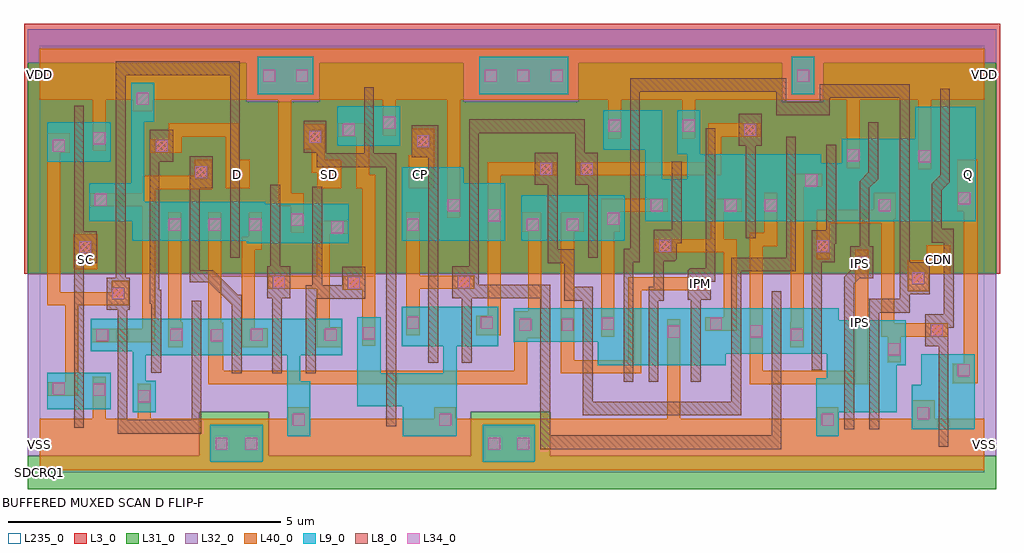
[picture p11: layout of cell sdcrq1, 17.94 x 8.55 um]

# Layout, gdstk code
import gdstk
lib = gdstk.Library(unit=1e-6, precision=1e-09)
def R(c, l, rs):  # rectangles x0, y0, x1, y1
    for r in rs: c.add(gdstk.rectangle(r[:2], r[2:], *l))
def A(c, l, x, y, w, h, nx, ny, dx, dy):  # array of equal rectangles
    R(c, l, [(x+i*dx, y+j*dy, x+i*dx+w, y+j*dy+h) for i in range(nx) for j in range(ny)])
def P(c, l, *ps):  # polygons
    for p in ps: c.add(gdstk.Polygon(p, *l))
L3_0 = (3, 0)
L8_0 = (8, 0)
L9_0 = (9, 0)
L31_0 = (31, 0)
L32_0 = (32, 0)
L34_0 = (34, 0)
L40_0 = (40, 0)
L235_0 = (235, 0)

sdcrq1 = lib.new_cell('sdcrq1')
P(sdcrq1, L3_0, [(17.65,8.245),(17.65,3.65),(6.15,3.65),(6.15,3.595),(3.18,3.595),(3.18,3.65),(-0.29,3.65),(-0.29,8.245)])
P(sdcrq1, L8_0, [(2.97,3.16),(2.79,3.16),(2.79,0.965),(1.61,0.965),(1.61,2.995),(1.65,2.995),(1.65,3.58),(1.58,3.58),(1.58,7.305),(3.5,7.305),(3.5,3.945),(3.68,3.945),(3.68,7.56),(1.4,7.56),(1.4,3.58),(1.23,3.58),(1.23,2.995),(1.43,2.995),(1.43,0.71),(2.97,0.71)],
  [(15.43,2.94),(15.99,2.94),(15.99,3.275),(16.36,3.275),(16.36,3.86),(15.99,3.86),(15.99,7.14),(14.34,7.14),(14.34,6.815),(13.72,6.815),(13.72,7.25),(10.85,7.25),(10.85,4.115),(10.73,4.115),(10.73,1.665),(10.91,1.665),(10.91,3.86),(11.03,3.86),(11.03,7),(13.54,7),(13.54,6.565),(14.52,6.565),(14.52,6.885),(15.81,6.885),(15.81,3.19),(15.25,3.19),(15.25,0.795),(15.43,0.795)],
  [(6.55,5.865),(6.14,5.865),(6.14,7.08),(5.96,7.08),(5.96,5.865),(5.27,5.865),(5.27,6.465),(4.85,6.465),(4.85,5.88),(5.09,5.88),(5.09,5.61),(6.37,5.61),(6.37,0.85),(6.55,0.85)],
  [(16.7,2.66),(16.8,2.66),(16.8,4.48),(16.58,4.48),(16.58,5.185),(16.73,5.335),(16.73,7.055),(16.55,7.055),(16.55,5.46),(16.4,5.31),(16.4,4.225),(16.62,4.225),(16.62,2.91),(16.28,2.91),(16.28,2.32),(16.52,2.32),(16.52,0.475),(16.7,0.475)],
  [(0.81,3.85),(1.05,3.85),(1.05,4.435),(0.81,4.435),(0.81,6.745),(0.63,6.745),(0.63,0.825),(0.81,0.825)],
  [(13.16,6.005),(13.27,6.005),(13.27,6.59),(12.85,6.59),(12.85,6.005),(12.98,6.005),(12.98,4.31),(13.16,4.31)],
  [(13.63,3.33),(13.45,3.33),(13.45,0.685),(9.38,0.685),(9.38,3.455),(8.07,3.455),(8.07,6.24),(9.84,6.24),(9.84,5.29),(10.08,5.29),(10.08,3.945),(10.26,3.945),(10.26,5.88),(10.02,5.88),(10.02,6.495),(7.89,6.495),(7.89,3.79),(7.58,3.79),(7.58,3.205),(7.76,3.205),(7.76,2.015),(7.94,2.015),(7.94,3.205),(9.2,3.205),(9.2,0.43),(13.63,0.43)],
  [(14.97,3.47),(15.07,3.57),(15.32,3.57),(15.32,4.155),(15.25,4.155),(15.25,5.23),(15.41,5.39),(15.41,6.44),(15.23,6.44),(15.23,5.515),(15.07,5.355),(15.07,4.155),(14.9,4.155),(14.9,3.705),(14.79,3.595),(14.79,0.795),(14.97,0.795)],
  [(7.32,6.38),(6.84,6.38),(6.84,5.795),(7.14,5.795),(7.14,2.015),(7.32,2.015)],
  [(12.15,3.175),(12.33,3.175),(12.33,3.51),(12.42,3.51),(12.42,6.325),(12.24,6.325),(12.24,3.755),(11.96,3.755),(11.91,3.705),(11.91,3.175),(11.97,3.175),(11.97,1.665),(12.15,1.665)],
  [(2.23,3.36),(2.2,3.36),(2.2,5.71),(2.45,5.71),(2.45,6.3),(2.02,6.3),(2.02,3.105),(2.05,3.105),(2.05,1.83),(2.23,1.83)],
  [(12.89,3.695),(13.9,3.695),(13.9,6.17),(13.72,6.17),(13.72,3.945),(12.71,3.945),(12.71,1.3),(10.16,1.3),(10.16,3.415),(9.82,3.415),(9.82,4.1),(9.52,4.1),(9.52,5.88),(9.1,5.88),(9.1,5.29),(9.34,5.29),(9.34,3.85),(9.64,3.85),(9.64,3.16),(9.98,3.16),(9.98,1.05),(12.89,1.05)],
  [(14.37,3.86),(14.61,3.86),(14.61,4.2),(14.64,4.2),(14.64,6.02),(14.46,6.02),(14.46,4.45),(14.19,4.45),(14.19,1.875),(14.37,1.875)],
  [(3.71,3.265),(3.64,3.265),(3.19,3.715),(2.94,3.715),(2.94,5.22),(3.18,5.22),(3.18,5.81),(2.76,5.81),(2.76,3.5),(3.11,3.5),(3.52,3.09),(3.53,3.09),(3.53,1.82),(3.71,1.82)],
  [(11.37,3.16),(11.47,3.16),(11.47,3.88),(11.67,3.88),(11.71,3.92),(11.71,4.21),(11.8,4.21),(11.8,5.71),(11.62,5.71),(11.62,4.465),(11.29,4.465),(11.29,3.415),(11.19,3.415),(11.19,1.665),(11.37,1.665)],
  [(4.45,3.205),(4.6,3.205),(4.6,3.79),(4.42,3.79),(4.42,5.29),(4.24,5.29),(4.24,3.79),(4.18,3.79),(4.18,3.205),(4.27,3.205),(4.27,1.82),(4.45,1.82)],
  [(5.07,3.19),(5.98,3.19),(5.98,3.78),(5.56,3.78),(5.56,3.44),(5.19,3.44),(5.19,5.25),(5.01,5.25),(5.01,3.44),(4.89,3.44),(4.89,1.82),(5.07,1.82)])
R(sdcrq1, L9_0, [(3.13,0.195,4.1,0.88), (8.14,0.195,9.1,0.88), (0.14,1.16,1.3,1.83), (8.85,4.255,10.75,5.095), (0.14,5.71,1.3,6.44), (5.47,6.005,6.63,6.73), (4.01,6.955,5.03,7.64), (8.08,6.955,9.71,7.64), (13.82,6.955,14.24,7.64)])
P(sdcrq1, L9_0, [(17.19,2.17),(17.19,0.795),(16.03,0.795),(16.03,1.61),(16.2,1.61),(16.2,2.17)],
  [(5.56,2.825),(5.56,2.155),(4.79,2.155),(4.79,1.68),(4.97,1.68),(4.97,0.67),(4.55,0.67),(4.55,2.155),(1.95,2.155),(1.95,1.69),(2.13,1.69),(2.13,1.105),(1.71,1.105),(1.71,2.225),(0.94,2.225),(0.94,2.825)],
  [(14.69,3.02),(14.69,2.8),(15.92,2.8),(15.92,1.97),(15.75,1.97),(15.75,1.105),(14.69,1.105),(14.69,0.67),(14.27,0.67),(14.27,1.735),(14.47,1.735),(14.47,2.18),(12.61,2.18),(12.61,1.97),(10.26,1.97),(10.26,2.405),(8.71,2.405),(8.71,3.02)],
  [(8.43,3.05),(8.43,2.32),(7.66,2.32),(7.66,0.67),(6.67,0.67),(6.67,1.215),(5.84,1.215),(5.84,2.855),(6.27,2.855),(6.27,1.82),(7.42,1.82),(7.42,2.32),(6.65,2.32),(6.65,3.05)],
  [(7.79,5.61),(7.79,5.32),(8.56,5.32),(8.56,4.255),(6.65,4.255),(6.65,5.61)],
  [(17.2,6.72),(17.2,4.62),(11.13,4.62),(11.13,5.935),(10.36,5.935),(10.36,6.66),(11.44,6.66),(11.44,5.39),(11.9,5.39),(11.9,5.85),(11.72,5.85),(11.72,6.66),(12.14,6.66),(12.14,5.85),(14.36,5.85),(14.36,5.68),(14.74,5.68),(14.74,6.13),(16.09,6.13),(16.09,6.72)],
  [(2.1,7.165),(2.1,6.45),(1.92,6.45),(1.92,4.98),(4.14,4.98),(4.14,4.94),(5.68,4.94),(5.68,4.21),(3.8,4.21),(3.8,4.255),(1.7,4.255),(1.7,4.62),(0.91,4.62),(0.91,5.32),(1.68,5.32),(1.68,7.165)])
P(sdcrq1, L31_0, [(9.38,1.12),(9.38,0.305),(17.58,0.305),(17.58,-0.305),(-0.22,-0.305),(-0.22,0.305),(2.93,0.305),(2.93,1.12),(4.21,1.12),(4.21,0.305),(7.92,0.305),(7.92,1.12)],
  [(17.58,7.53),(17.58,3.65),(-0.22,3.65),(-0.22,7.53),(3.8,7.53),(3.8,6.815),(5.14,6.815),(5.14,7.53),(7.79,7.53),(7.79,6.815),(9.9,6.815),(9.9,7.53),(13.65,7.53),(13.65,6.815),(14.4,6.815),(14.4,7.53)])
P(sdcrq1, L32_0, [(17.58,3.65),(17.58,0.305),(9.38,0.305),(9.38,1.12),(7.92,1.12),(7.92,0.305),(4.21,0.305),(4.21,1.12),(2.93,1.12),(2.93,0.305),(-0.22,0.305),(-0.22,3.65)],
  [(17.58,8.145),(17.58,7.53),(14.4,7.53),(14.4,6.815),(13.65,6.815),(13.65,7.53),(9.9,7.53),(9.9,6.815),(7.79,6.815),(7.79,7.53),(5.14,7.53),(5.14,6.815),(3.8,6.815),(3.8,7.53),(-0.22,7.53),(-0.22,8.145)])
A(sdcrq1, L34_0, 2.37, 4.44, 0.22, 0.22, 3, 1, 0.74, 0)
R(sdcrq1, L34_0, [(3.23,0.42,3.45,0.64), (3.78,0.42,4,0.64), (8.24,0.42,8.46,0.64), (8.78,0.42,9,0.64), (4.65,0.855,4.87,1.075), (7.34,0.855,7.56,1.075), (14.37,0.855,14.59,1.075), (16.13,0.98,16.35,1.2), (1.81,1.29,2.03,1.51), (0.98,1.415,1.2,1.635), (0.24,1.43,0.46,1.65), (16.87,1.765,17.09,1.985), (15.6,2.155,15.82,2.375), (1.04,2.41,1.26,2.63), (3.14,2.41,3.36,2.63), (2.4,2.42,2.62,2.64), (3.88,2.42,4.1,2.64), (5.24,2.42,5.46,2.64), (13.8,2.42,14.02,2.64), (5.94,2.45,6.16,2.67), (11.54,2.48,11.76,2.7), (13.06,2.49,13.28,2.71), (16.38,2.505,16.6,2.725), (8.81,2.605,9.03,2.825), (9.59,2.605,9.81,2.825), (10.33,2.62,10.55,2.84), (12.32,2.62,12.54,2.84), (6.75,2.645,6.97,2.865), (8.11,2.645,8.33,2.865), (1.33,3.18,1.55,3.4), (12.01,3.36,12.23,3.58), (5.66,3.375,5.88,3.595), (4.28,3.39,4.5,3.61), (7.68,3.39,7.9,3.61), (16.04,3.46,16.26,3.68), (15,3.75,15.22,3.97), (0.73,4.03,0.95,4.25), (14.29,4.045,14.51,4.265), (11.39,4.06,11.61,4.28), (5.36,4.395,5.58,4.615), (6.75,4.44,6.97,4.66), (8.95,4.44,9.17,4.66), (9.69,4.44,9.91,4.66), (4.62,4.535,4.84,4.755), (10.43,4.55,10.65,4.77), (8.24,4.62,8.46,4.84), (7.5,4.8,7.72,5.02), (11.23,4.8,11.45,5.02), (12.59,4.8,12.81,5.02), (13.33,4.8,13.55,5.02), (15.42,4.8,15.64,5.02), (1.01,4.9,1.23,5.12), (16.88,4.93,17.1,5.15), (14.07,5.265,14.29,5.485), (2.86,5.405,3.08,5.625), (9.2,5.475,9.42,5.695), (9.94,5.475,10.16,5.695), (16.16,5.7,16.38,5.92), (14.84,5.725,15.06,5.945), (0.24,5.895,0.46,6.115), (2.13,5.895,2.35,6.115), (6.94,5.98,7.16,6.2), (0.98,6.035,1.2,6.255), (4.95,6.06,5.17,6.28), (5.57,6.19,5.79,6.41), (12.95,6.19,13.17,6.41), (10.46,6.26,10.68,6.48), (11.82,6.26,12.04,6.48), (6.31,6.315,6.53,6.535), (1.78,6.76,2,6.98), (4.11,7.18,4.33,7.4), (4.71,7.18,4.93,7.4), (8.18,7.18,8.4,7.4), (8.78,7.18,9,7.4), (9.39,7.18,9.61,7.4), (13.92,7.18,14.14,7.4)])
R(sdcrq1, L40_0, [(0.62,3.74,1.06,4.375)])
P(sdcrq1, L40_0, [(12.29,5.705),(9.85,5.705),(9.85,5.46),(12.53,5.46),(12.53,6.175),(13.26,6.175),(13.26,6.42),(12.29,6.42)],
  [(7.25,6.32),(6.84,6.32),(6.84,5.83),(6.78,5.83),(6.78,5.225),(7.25,5.225)],
  [(3.17,5.75),(2.85,5.75),(2.85,5.455),(1.88,5.455),(1.88,5.13),(0.92,5.13),(0.92,4.89),(1.88,4.89),(1.88,2.64),(0.95,2.64),(0.95,2.395),(2.12,2.395),(2.12,5.21),(3.17,5.21)],
  [(16.86,4.805),(16.98,4.805),(16.98,1.995),(16.78,1.995),(16.78,1.64),(17.24,1.64),(17.24,5.75),(16.86,5.75)],
  [(4.86,6.405),(4.86,5.94),(5,5.94),(5,5.505),(5.1,5.505),(5.1,5.225),(5.54,5.225),(5.54,5.75),(5.24,5.75),(5.24,6.405)],
  [(2.37,6.42),(2.37,6.125),(2.03,6.125),(2.03,5.88),(2.61,5.88),(2.61,6.175),(3.42,6.175),(3.42,5.225),(3.86,5.225),(3.86,5.75),(3.66,5.75),(3.66,6.42)],
  [(8.23,2.88),(8.02,2.88),(8.02,2.52),(8.47,2.52),(8.47,5.46),(9.51,5.46),(9.51,5.705),(8.23,5.705)],
  [(13.8,2.765),(13.79,2.765),(13.79,2.3),(14.04,2.3),(14.04,5.25),(14.38,5.25),(14.38,5.495),(13.8,5.495)],
  [(5.48,6.42),(5.48,6.175),(5.82,6.175),(5.82,5.225),(5.93,5.225),(5.93,3.605),(5.57,3.605),(5.57,3.36),(5.93,3.36),(5.93,2.325),(6.17,2.325),(6.17,5.47),(6.06,5.47),(6.06,6.42)],
  [(6.3,6.85),(6.3,6.19),(6.54,6.19),(6.54,6.85),(7.49,6.85),(7.49,4.68),(7.73,4.68),(7.73,6.85),(10.45,6.85),(10.45,6.135),(10.69,6.135),(10.69,6.85),(11.81,6.85),(11.81,6.135),(12.05,6.135),(12.05,6.85),(14.83,6.85),(14.83,5.59),(15.07,5.59),(15.07,6.85),(16.15,6.85),(16.15,5.575),(16.39,5.575),(16.39,6.85),(17.36,6.85),(17.36,7.79),(0,7.79),(0,6.85),(0.97,6.85),(0.97,5.91),(1.21,5.91),(1.21,6.85),(1.71,6.85),(1.71,6.64),(2.09,6.64),(2.09,6.85),(4.38,6.85),(4.38,4.89),(4.61,4.89),(4.61,4.41),(4.85,4.41),(4.85,5.13),(4.62,5.13),(4.62,6.85)],
  [(10.32,2.495),(10.56,2.495),(10.56,4.425),(10.66,4.425),(10.66,4.79),(11.54,4.79),(11.54,5.035),(10.32,5.035)],
  [(9.22,4.78),(8.86,4.78),(8.86,4.425),(8.98,4.425),(8.98,2.96),(8.72,2.96),(8.72,1.87),(3.37,1.87),(3.37,2.75),(3.34,2.75),(3.34,4.78),(3.1,4.78),(3.1,1.625),(8.96,1.625),(8.96,2.465),(9.22,2.465)],
  [(12.9,4.79),(12.9,5.035),(12.33,5.035),(12.33,4.29),(11.3,4.29),(11.3,4.05),(12.57,4.05),(12.57,2.85),(12.23,2.85),(12.23,2.605),(12.81,2.605),(12.81,4.29),(12.57,4.29),(12.57,4.79)],
  [(16.3,3.9),(15.95,3.9),(15.95,3.335),(16.35,3.335),(16.35,3.655),(16.74,3.655),(16.74,4.18),(16.3,4.18)],
  [(13.29,4.16),(13.56,4.16),(13.56,5.145),(13.32,5.145),(13.32,4.405),(13.05,4.405),(13.05,1.625),(15.23,1.625),(15.23,4.095),(14.99,4.095),(14.99,1.87),(13.29,1.87)],
  [(6.74,4.78),(6.74,2.52),(6.98,2.52),(6.98,3.375),(7.99,3.375),(7.99,3.62),(6.98,3.62),(6.98,4.78)],
  [(10.82,2.065),(9.82,2.065),(9.82,4.425),(10,4.425),(10,4.78),(9.58,4.78),(9.58,1.82),(11.06,1.82),(11.06,3.35),(12.32,3.35),(12.32,3.59),(10.82,3.59)],
  [(1.64,3.52),(1.32,3.52),(1.32,3.31),(0.38,3.31),(0.38,5.88),(0.55,5.88),(0.55,6.24),(0.14,6.24),(0.14,3.07),(0.47,3.07),(0.47,1.66),(0.15,1.66),(0.15,1.415),(0.71,1.415),(0.71,3.07),(1.64,3.07)],
  [(2.36,4.78),(2.36,2.3),(2.63,2.3),(2.63,2.765),(2.6,2.765),(2.6,4.78)],
  [(15.71,4.665),(15.73,4.665),(15.73,5.145),(15.33,5.145),(15.33,4.825),(14.28,4.825),(14.28,3.92),(14.52,3.92),(14.52,4.58),(15.47,4.58),(15.47,2.495),(15.59,2.495),(15.59,2.03),(15.83,2.03),(15.83,2.495),(16.69,2.495),(16.69,2.74),(15.71,2.74)],
  [(5.67,4.385),(5.67,4.63),(5.09,4.63),(5.09,3.62),(4.19,3.62),(4.19,3.375),(5.09,3.375),(5.09,2.3),(5.55,2.3),(5.55,2.67),(5.33,2.67),(5.33,4.385)],
  [(3.95,4.09),(4.08,4.09),(4.08,4.78),(3.84,4.78),(3.84,4.335),(3.71,4.335),(3.71,2.3),(4.19,2.3),(4.19,2.655),(3.95,2.655)],
  [(16.03,1.325),(16.03,0.99),(14.68,0.99),(14.68,1.2),(14.28,1.2),(14.28,0.99),(11.77,0.99),(11.77,2.82),(11.53,2.82),(11.53,0.99),(7.65,0.99),(7.65,1.2),(7.25,1.2),(7.25,0.99),(4.96,0.99),(4.96,1.2),(4.56,1.2),(4.56,0.99),(2.04,0.99),(2.04,1.63),(1.8,1.63),(1.8,0.99),(1.21,0.99),(1.21,1.76),(0.97,1.76),(0.97,0.99),(0,0.99),(0,0.045),(17.36,0.045),(17.36,0.99),(16.45,0.99),(16.45,1.325)])
R(sdcrq1, L235_0, [(0,0,17.36,7.84)])
sdcrq1.add(gdstk.Label('IPS', (15.09,2.75), layer=8, texttype=7))
sdcrq1.add(gdstk.Label('IPS', (15.09,2.75), layer=8, texttype=7))
sdcrq1.add(gdstk.Label('IPS', (15.09,2.75), layer=8, texttype=7))
sdcrq1.add(gdstk.Label('IPS', (15.09,2.75), layer=8, texttype=7))
sdcrq1.add(gdstk.Label('IPS', (15.09,2.75), layer=8, texttype=7))
sdcrq1.add(gdstk.Label('Copyright (c) 2003, 2004 Synopsys, Inc.', (0,-2.24), layer=96, texttype=0))
sdcrq1.add(gdstk.Label('DT. 10-Sep-2002 16:47:49', (0,-1.68), layer=96, texttype=0))
sdcrq1.add(gdstk.Label('Rev. 1', (0,-1.12), layer=96, texttype=0))
sdcrq1.add(gdstk.Label('BUFFERED MUXED SCAN D FLIP-FLOP WITH CLEAR AND Q ONLY, 1X DRIVE', (0,-0.56), layer=96, texttype=0))
sdcrq1.add(gdstk.Label('SDCRQ1', (0,0), layer=96, texttype=0))
sdcrq1.add(gdstk.Label('Q', (17.08,5.485), layer=40, texttype=7))
sdcrq1.add(gdstk.Label('CDN', (16.52,3.92), layer=40, texttype=7))
sdcrq1.add(gdstk.Label('CP', (7,5.485), layer=40, texttype=7))
sdcrq1.add(gdstk.Label('SD', (5.32,5.485), layer=40, texttype=7))
sdcrq1.add(gdstk.Label('D', (3.64,5.485), layer=40, texttype=7))
sdcrq1.add(gdstk.Label('SC', (0.84,3.92), layer=40, texttype=7))
sdcrq1.add(gdstk.Label('VSS', (17.36,0.515), layer=40, texttype=7))
sdcrq1.add(gdstk.Label('VDD', (17.36,7.32), layer=40, texttype=7))
sdcrq1.add(gdstk.Label('VSS', (0,0.515), layer=40, texttype=7))
sdcrq1.add(gdstk.Label('VDD', (0,7.32), layer=40, texttype=7))
sdcrq1.add(gdstk.Label('IPM', (12.14,3.47), layer=8, texttype=7))
sdcrq1.add(gdstk.Label('IPS', (15.09,3.85), layer=8, texttype=7))

lib.write_gds('sdcrq1.gds')
